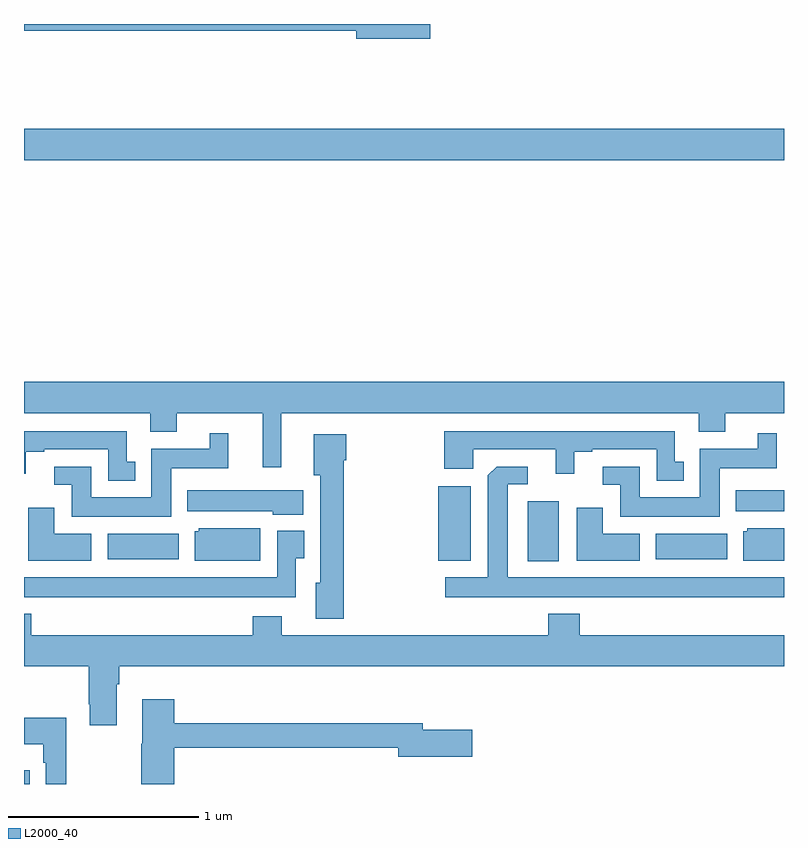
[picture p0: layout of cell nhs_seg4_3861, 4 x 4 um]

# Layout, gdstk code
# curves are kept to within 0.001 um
import gdstk
lib = gdstk.Library(unit=1e-6, precision=1e-09)
def R(c, l, rs):  # rectangles x0, y0, x1, y1
    for r in rs: c.add(gdstk.rectangle(r[:2], r[2:], *l))
def P(c, l, *ps):  # polygons
    for p in ps: c.add(gdstk.Polygon(p, *l))
L2000_40 = (2000, 40)

nhs_seg4_3861 = lib.new_cell('nhs_seg4_3861')
R(nhs_seg4_3861, L2000_40, [(315,762.9,315.029,762.973), (317.651,764.072,317.815,764.389), (317.18,764.075,317.35,764.467), (315.44,764.084,315.814,764.218), (318.326,764.084,318.7,764.218), (318.746,764.336,319,764.446), (315,766.184,319,766.348)])
P(nhs_seg4_3861, L2000_40, [(317.137,766.9),(315,766.9),(315,766.864),(316.748,766.864),(316.748,766.822),(317.137,766.822)],
  [(316.354,764.852),(318.551,764.852),(318.551,764.753),(318.691,764.753),(318.691,764.852),(319,764.852),(319,765.016),(315,765.016),(315,764.852),(315.665,764.852),(315.665,764.753),(315.805,764.753),(315.805,764.852),(316.256,764.852),(316.256,764.568),(316.354,764.568)],
  [(315.586,764.595),(315.54,764.595),(315.54,764.757),(315,764.757),(315,764.532),(315.01,764.532),(315.01,764.649),(315.106,764.649),(315.106,764.661),(315.444,764.661),(315.444,764.495),(315.586,764.495)],
  [(318.472,764.595),(318.426,764.595),(318.426,764.757),(317.213,764.757),(317.213,764.558),(317.364,764.558),(317.364,764.661),(317.798,764.661),(317.798,764.532),(317.896,764.532),(317.896,764.649),(317.992,764.649),(317.992,764.661),(318.33,764.661),(318.33,764.495),(318.472,764.495)],
  [(318.661,764.561),(318.962,764.561),(318.962,764.746),(318.863,764.746),(318.863,764.665),(318.557,764.665),(318.557,764.41),(318.241,764.41),(318.241,764.571),(318.045,764.571),(318.045,764.475),(318.137,764.475),(318.137,764.306),(318.661,764.306)],
  [(315.775,764.561),(316.076,764.561),(316.076,764.746),(315.977,764.746),(315.977,764.665),(315.671,764.665),(315.671,764.41),(315.355,764.41),(315.355,764.571),(315.159,764.571),(315.159,764.475),(315.251,764.475),(315.251,764.306),(315.775,764.306)],
  [(316.682,764.604),(316.697,764.604),(316.697,764.74),(316.526,764.74),(316.526,764.526),(316.559,764.526),(316.559,763.959),(316.535,763.959),(316.535,763.769),(316.682,763.769)],
  [(319,763.987),(317.545,763.987),(317.545,764.478),(317.65,764.478),(317.65,764.571),(317.488,764.571),(317.442,764.525),(317.441,763.987),(317.217,763.987),(317.217,763.883),(319,763.883)],
  [(316.471,764.446),(315.86,764.446),(315.86,764.336),(316.308,764.336),(316.308,764.318),(316.471,764.318)],
  [(315.355,764.218),(315.16,764.218),(315.16,764.353),(315.023,764.353),(315.023,764.075),(315.355,764.075)],
  [(318.241,764.218),(318.046,764.218),(318.046,764.353),(317.909,764.353),(317.909,764.075),(318.241,764.075)],
  [(316.243,764.245),(315.921,764.245),(315.921,764.229),(315.899,764.229),(315.899,764.075),(316.243,764.075)],
  [(319,764.245),(318.807,764.245),(318.807,764.229),(318.785,764.229),(318.785,764.075),(319,764.075)],
  [(316.429,764.089),(316.474,764.089),(316.474,764.233),(316.332,764.233),(316.332,763.987),(315,763.987),(315,763.883),(316.429,763.883)],
  [(315.487,763.424),(315.5,763.424),(315.5,763.52),(319,763.52),(319,763.684),(317.924,763.684),(317.924,763.795),(317.759,763.795),(317.759,763.684),(316.357,763.684),(316.357,763.783),(316.205,763.783),(316.205,763.684),(315.038,763.684),(315.038,763.795),(315,763.795),(315,763.52),(315.34,763.52),(315.34,763.321),(315.347,763.321),(315.347,763.209),(315.487,763.209)],
  [(315.791,763.09),(316.97,763.09),(316.97,763.043),(317.359,763.043),(317.359,763.185),(317.098,763.185),(317.098,763.219),(315.791,763.219),(315.791,763.345),(315.623,763.345),(315.623,763.113),(315.616,763.113),(315.616,762.9),(315.791,762.9)],
  [(315.223,763.249),(315,763.249),(315,763.109),(315.102,763.109),(315.102,763.013),(315.114,763.013),(315.114,762.9),(315.223,762.9)])

lib.write_gds('nhs_seg4_3861.gds')
